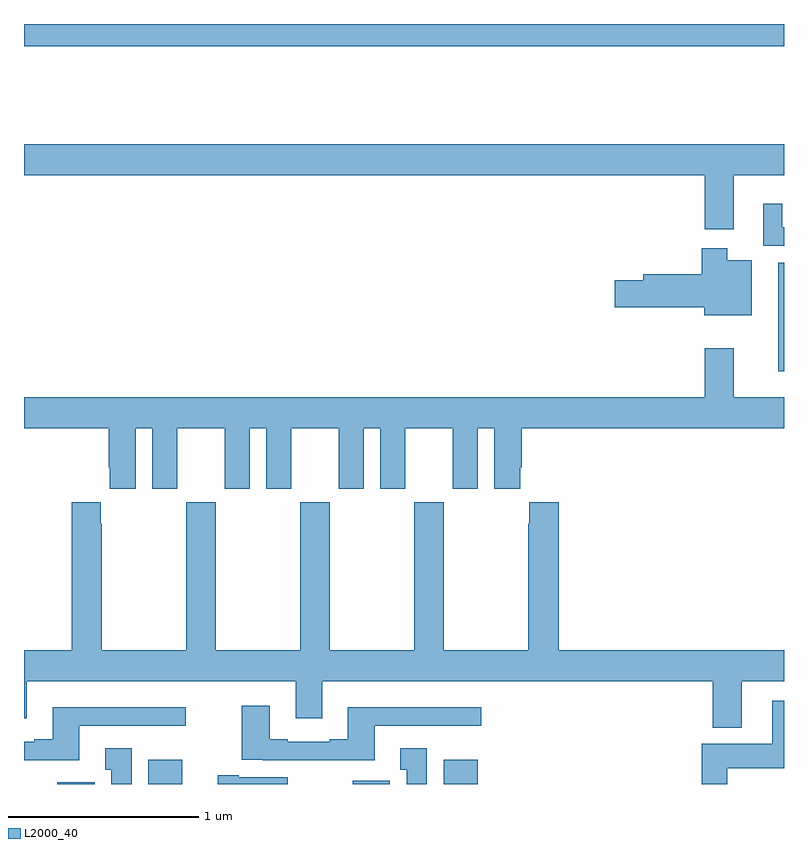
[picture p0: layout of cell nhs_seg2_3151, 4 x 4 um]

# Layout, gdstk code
import gdstk
lib = gdstk.Library(unit=1e-6, precision=1e-09)
def R(c, l, rs):  # rectangles x0, y0, x1, y1
    for r in rs: c.add(gdstk.rectangle(r[:2], r[2:], *l))
def P(c, l, *ps):  # polygons
    for p in ps: c.add(gdstk.Polygon(p, *l))
L2000_40 = (2000, 40)

nhs_seg2_3151 = lib.new_cell('nhs_seg2_3151')
R(nhs_seg2_3151, L2000_40, [(277.175,609.8,277.372,609.808), (277.655,609.8,277.834,609.928), (278.729,609.8,278.925,609.817), (279.209,609.8,279.388,609.928), (280.97,611.972,281,612.544), (277,613.684,281,613.8)])
P(nhs_seg2_3151, L2000_40, [(280.735,613.004),(281,613.004),(281,613.168),(277,613.168),(277,613.004),(280.583,613.004),(280.583,612.72),(280.735,612.72)],
  [(281,612.729),(280.99,612.729),(280.99,612.853),(280.892,612.853),(280.892,612.633),(281,612.633)],
  [(280.831,612.556),(280.702,612.556),(280.702,612.619),(280.568,612.619),(280.568,612.482),(280.259,612.482),(280.259,612.452),(280.11,612.452),(280.11,612.31),(280.58,612.31),(280.58,612.266),(280.831,612.266)],
  [(277,611.672),(277.445,611.672),(277.445,611.467),(277.451,611.467),(277.451,611.355),(277.588,611.355),(277.588,611.672),(277.676,611.672),(277.676,611.355),(277.807,611.355),(277.807,611.672),(278.057,611.672),(278.057,611.355),(278.188,611.355),(278.188,611.672),(278.276,611.672),(278.276,611.355),(278.407,611.355),(278.407,611.672),(278.657,611.672),(278.657,611.355),(278.788,611.355),(278.788,611.672),(278.876,611.672),(278.876,611.355),(279.007,611.355),(279.007,611.672),(279.257,611.672),(279.257,611.355),(279.388,611.355),(279.388,611.672),(279.476,611.672),(279.476,611.355),(279.613,611.355),(279.613,611.467),(279.62,611.467),(279.62,611.672),(281,611.672),(281,611.836),(280.735,611.836),(280.735,612.094),(280.583,612.094),(280.583,611.836),(277,611.836)],
  [(280.777,610.34),(281,610.34),(281,610.504),(279.815,610.504),(279.815,611.284),(279.659,611.284),(279.659,611.171),(279.655,611.171),(279.655,610.504),(279.21,610.504),(279.21,611.284),(279.055,611.284),(279.055,610.504),(278.61,610.504),(278.61,611.284),(278.455,611.284),(278.455,610.504),(278.01,610.504),(278.01,611.284),(277.855,611.284),(277.855,610.504),(277.41,610.504),(277.41,611.171),(277.405,611.171),(277.405,611.284),(277.25,611.284),(277.25,610.504),(277,610.504),(277,610.146),(277.015,610.146),(277.015,610.34),(278.429,610.34),(278.429,610.146),(278.569,610.146),(278.569,610.34),(280.625,610.34),(280.625,610.097),(280.777,610.097)],
  [(280.702,609.884),(281,609.884),(281,610.237),(280.937,610.237),(280.937,610.012),(280.568,610.012),(280.568,609.8),(280.702,609.8)],
  [(278.845,610.107),(279.406,610.107),(279.406,610.204),(278.705,610.204),(278.705,610.036),(278.609,610.036),(278.609,610.023),(278.389,610.023),(278.389,610.036),(278.293,610.036),(278.293,610.213),(278.146,610.213),(278.146,609.927),(278.257,609.927),(278.257,609.926),(278.845,609.926)],
  [(277.291,610.107),(277.852,610.107),(277.852,610.204),(277.151,610.204),(277.151,610.036),(277.055,610.036),(277.055,610.023),(277,610.023),(277,609.926),(277.291,609.926)],
  [(279.121,609.988),(278.981,609.988),(278.981,609.875),(279.014,609.875),(279.014,609.8),(279.121,609.8)],
  [(277.567,609.988),(277.427,609.988),(277.427,609.875),(277.46,609.875),(277.46,609.8),(277.567,609.8)],
  [(278.389,609.835),(278.131,609.835),(278.131,609.847),(278.019,609.847),(278.019,609.8),(278.389,609.8)])

lib.write_gds('nhs_seg2_3151.gds')
